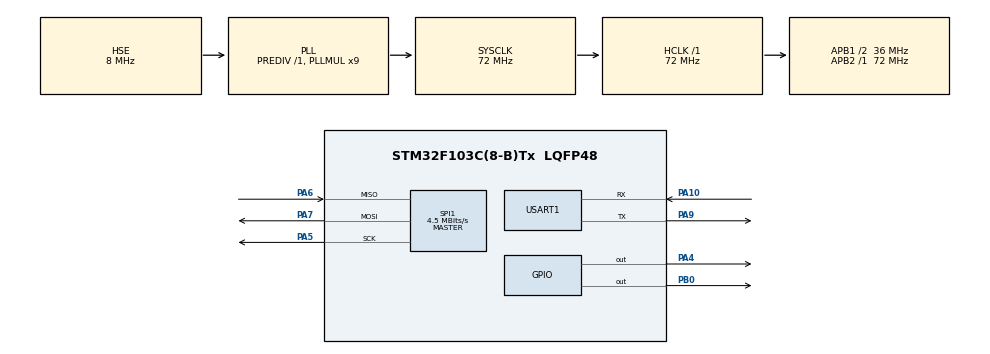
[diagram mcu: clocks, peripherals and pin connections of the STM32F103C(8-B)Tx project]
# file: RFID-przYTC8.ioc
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Mcu.Family=STM32F1
RCC.PLLSourceVirtual=RCC_PLLSOURCE_HSE
PA6.Mode=Full_Duplex_Master
PA7.Mode=Full_Duplex_Master
PD1-OSC_OUT.Mode=HSE-External-Oscillator
PA10.Mode=Asynchronous
SPI1.VirtualType=VM_MASTER
PD0-OSC_IN.Signal=RCC_OSC_IN
RCC.APB1CLKDivider=RCC_HCLK_DIV2
RCC.SYSCLKSource=RCC_SYSCLKSOURCE_PLLCLK
ProjectManager.StackSize=0x400
PD1-OSC_OUT.Signal=RCC_OSC_OUT
PA13.Signal=SYS_JTMS-SWDIO
PA9.Mode=Asynchronous
ProjectManager.TargetToolchain=STM32CubeIDE
SPI1.Direction=SPI_DIRECTION_2LINES
RCC.HCLKFreq_Value=72000000
RCC.APB2TimFreq_Value=72000000
PA9.Signal=USART1_TX
SPI1.CalculateBaudRate=4.5 MBits/s
RCC.USBFreq_Value=72000000
RCC.AHBFreq_Value=72000000
PD0-OSC_IN.Mode=HSE-External-Oscillator
PA5.Signal=SPI1_SCK
board=custom
RCC.PLLMUL=RCC_PLL_MUL9
RCC.APB2Freq_Value=72000000
SPI1.Mode=SPI_MODE_MASTER
PA14.Mode=Serial_Wire
PA13.Mode=Serial_Wire
Mcu.Name=STM32F103C(8-B)Tx
PA4.Signal=GPIO_Output
RCC.SYSCLKFreq_VALUE=72000000
Mcu.Package=LQFP48
PA6.Signal=SPI1_MISO
USART1.VirtualMode=VM_ASYNC
PA10.Signal=USART1_RX
PA14.Signal=SYS_JTCK-SWCLK
ProjectManager.HeapSize=0x200
NVIC.PriorityGroup=NVIC_PRIORITYGROUP_4
RCC.APB1TimFreq_Value=72000000
RCC.APB1Freq_Value=36000000
SPI1.BaudRatePrescaler=SPI_BAUDRATEPRESCALER_16
PB0.Signal=GPIO_Output
PA5.Mode=Full_Duplex_Master
PA7.Signal=SPI1_MOSI

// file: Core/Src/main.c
/* USER CODE BEGIN Header */
/**
  ******************************************************************************
  * @file           : main.c
  * @brief          : Main program body
  ******************************************************************************
  * @attention
  *
  * <h2><center>&copy; Copyright (c) 2021 STMicroelectronics.
  * All rights reserved.</center></h2>
  *
  * This software component is licensed by ST under BSD 3-Clause license,
  * the "License"; You may not use this file except in compliance with the
  * License. You may obtain a copy of the License at:
  *                        opensource.org/licenses/BSD-3-Clause
  *
  ******************************************************************************
  */
/* USER CODE END Header */
#include "main.h"
#include "spi.h"
#include "usart.h"
#include "gpio.h"

/* USER CODE BEGIN Includes */
#include "stdio.h"
#include "rc522.h"
#include "stdio.h"
#include "string.h"
/* USER CODE END Includes */

/* USER CODE BEGIN PV */
uint8_t str[MAX_LEN];
uint8_t serNum[5];
uint8_t  KEY[] = {0xFF,0xFF,0xFF,0xFF,0xFF,0xFF};
uint8_t W[]="POZDRAWIAM";
uint8_t R[16];
/* USER CODE END PV */

void SystemClock_Config(void);

int main(void)
{

  /* MCU Configuration--------------------------------------------------------*/

  /* Reset of all peripherals, Initializes the Flash interface and the Systick. */
  HAL_Init();

  /* Configure the system clock */
  SystemClock_Config();

  /* Initialize all configured peripherals */
  MX_GPIO_Init();
  MX_SPI1_Init();
  MX_USART1_UART_Init();
  /* USER CODE BEGIN 2 */
  MFRC522_Init();
  /* USER CODE END 2 */

  /* Infinite loop */
  /* USER CODE BEGIN WHILE */
  while (1)
  {
	  HAL_Delay(10);
		if((MFRC522_Request(PICC_REQIDL, str)==MFRC522_OK))
		{
			if (MFRC522_Anticoll(str)==MFRC522_OK)
			{
				memcpy(serNum, str, 5);
				MFRC522_SelectTag(str);
				MFRC522_Auth(PICC_AUTHENT1A,2,KEY,serNum);
				HAL_Delay(10);
				MFRC522_WriteBlock((uint8_t)2 , W);
				HAL_Delay(10);
				MFRC522_ReadBlock( 2, R);
				MFRC522_DeAuth();
			}
				HAL_Delay(1);
		}
    /* USER CODE END WHILE */

  }
}

void SystemClock_Config(void)
{
  RCC_OscInitTypeDef RCC_OscInitStruct = {0};
  RCC_ClkInitTypeDef RCC_ClkInitStruct = {0};

  /** Initializes the RCC Oscillators according to the specified parameters
  * in the RCC_OscInitTypeDef structure.
  */
  RCC_OscInitStruct.OscillatorType = RCC_OSCILLATORTYPE_HSE;
  RCC_OscInitStruct.HSEState = RCC_HSE_ON;
  RCC_OscInitStruct.HSEPredivValue = RCC_HSE_PREDIV_DIV1;
  RCC_OscInitStruct.HSIState = RCC_HSI_ON;
  RCC_OscInitStruct.PLL.PLLState = RCC_PLL_ON;
  RCC_OscInitStruct.PLL.PLLSource = RCC_PLLSOURCE_HSE;
  RCC_OscInitStruct.PLL.PLLMUL = RCC_PLL_MUL9;
  if (HAL_RCC_OscConfig(&RCC_OscInitStruct) != HAL_OK)
  {
    Error_Handler();
  }
  /** Initializes the CPU, AHB and APB buses clocks
  */
  RCC_ClkInitStruct.ClockType = RCC_CLOCKTYPE_HCLK|RCC_CLOCKTYPE_SYSCLK
                              |RCC_CLOCKTYPE_PCLK1|RCC_CLOCKTYPE_PCLK2;
  RCC_ClkInitStruct.SYSCLKSource = RCC_SYSCLKSOURCE_PLLCLK;
  RCC_ClkInitStruct.AHBCLKDivider = RCC_SYSCLK_DIV1;
  RCC_ClkInitStruct.APB1CLKDivider = RCC_HCLK_DIV2;
  RCC_ClkInitStruct.APB2CLKDivider = RCC_HCLK_DIV1;

  if (HAL_RCC_ClockConfig(&RCC_ClkInitStruct, FLASH_LATENCY_2) != HAL_OK)
  {
    Error_Handler();
  }
}

void Error_Handler(void)
{
  __disable_irq();
  while (1)
  {
  }
}

/************************ (C) COPYRIGHT STMicroelectronics *****END OF FILE****/
